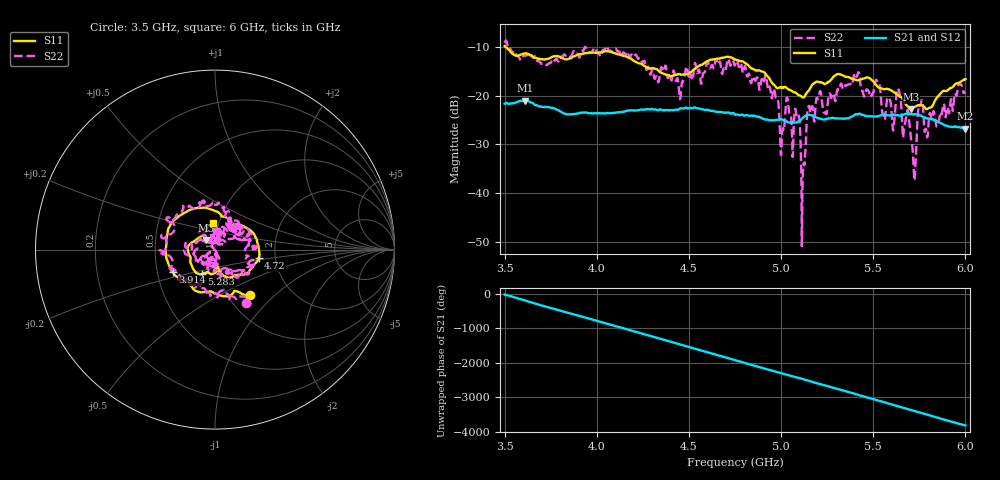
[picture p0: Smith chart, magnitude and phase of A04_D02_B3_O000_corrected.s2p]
! Created with skrf 1.9.0 (http://scikit-rf.org).
# Hz S RI R 50.0
!freq ReS11 ImS11 ReS21 ImS21 ReS12 ImS12 ReS22 ImS22
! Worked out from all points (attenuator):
!   1601 points, 3.5 GHz to 6 GHz, reference 50 ohm
!   highest |S21| = -21.05 dB at 3.611 GHz (marker M1); lowest = -26.8 dB at 6 GHz (marker M2)
!   lowest |S11| = -22.8 dB at 5.705 GHz (marker M3), VSWR 1.16, Z = 45.1 + j4.88 ohm
!   |S11| at or under -10 dB: 3.504 GHz to end of sweep
!   |S22| runs from -50.8 to -8.7 dB; largest |S21 - S12| = 0.001
!   S11 on the Smith chart (normalised r, x): 3.5 GHz: 1.26, -0.72; 3.914 GHz: 0.60, -0.16; 4.72 GHz: 1.63, -0.17; 5.283 GHz: 0.83, -0.23; 6 GHz: 0.94, +0.28
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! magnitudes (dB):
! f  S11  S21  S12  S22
! 3.5 GHz  -9.9  -21.7  -21.7  -9.2
! 3.611 GHz  -11.3  -21.0  -21.1  -11.9
! 3.914 GHz  -11.5  -23.5  -23.5  -11.1
! 3.917 GHz  -11.5  -23.5  -23.5  -10.9
! 4.334 GHz  -14.9  -23.0  -22.9  -17.3
! 4.72 GHz  -12.1  -23.5  -23.5  -13.3
! 4.75 GHz  -12.6  -23.9  -23.8  -13.8
! 4.969 GHz  -18.1  -25.0  -25.0  -20.0
! 5.005 GHz  -18.3  -24.8  -24.8  -28.2
! 5.086 GHz  -19.6  -25.5  -25.4  -24.4
! 5.12 GHz  -20.4  -24.5  -24.4  -34.6
! 5.145 GHz  -19.2  -23.9  -23.9  -22.5
! 5.167 GHz  -17.9  -24.1  -24.0  -22.2
! 5.283 GHz  -16.2  -24.6  -24.5  -19.5
! 5.411 GHz  -16.9  -23.8  -23.8  -16.0
! 5.584 GHz  -18.7  -24.0  -24.0  -20.5
! 5.638 GHz  -20.0  -24.0  -24.0  -18.8
! 5.705 GHz  -22.8  -23.8  -23.8  -28.7
! 5.722 GHz  -22.4  -23.8  -23.8  -36.5
! 5.756 GHz  -22.0  -24.1  -24.0  -22.1
! 5.787 GHz  -22.8  -24.6  -24.5  -27.1
! 6 GHz  -16.6  -26.8  -26.7  -19.5
